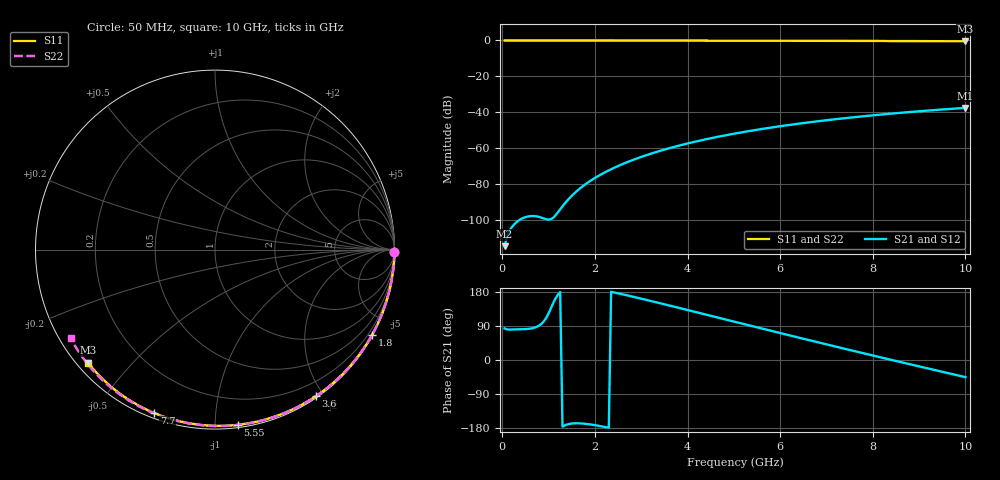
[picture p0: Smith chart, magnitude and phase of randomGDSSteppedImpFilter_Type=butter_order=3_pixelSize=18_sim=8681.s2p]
! freq	dB(S11)	phase(S11)	dB(S12)	phase(S12)
!  dB(S21)	phase(S21)	dB(S22)	phase(S22)
!S-par simulation data
#  GHz  S  DB  R 50
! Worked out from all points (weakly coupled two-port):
!   200 points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, 50 MHz to 10 GHz, reference 50 ohm
!   highest |S21| = -37.53 dB at 10 GHz (marker M1); lowest = -114.6 dB at 50 MHz (marker M2)
!   lowest |S11| = -0.5 dB at 10 GHz (marker M3), VSWR 37.04, Z = 1.55 - j19 ohm
!   |S11| at or under -10 dB: nowhere
!   |S22| runs from -0.5 to 0.0 dB; largest |S21 - S12| = 0
!   S11 on the Smith chart (normalised r, x): 50 MHz: open; 1.8 GHz: 0.03, -3.96; 3.6 GHz: 0.02, -1.90; 5.55 GHz: 0.02, -1.14; 7.7 GHz: 0.02, -0.70; 10 GHz: 0.03, -0.38
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0.05  -0.00 -0.8  -114.56 83.4  -114.56 83.4  -0.00 -0.9
0.45  -0.01 -7.2  -98.87 81.2  -98.87 81.2  -0.01 -7.7
0.9  -0.02 -14.3  -99.16 102.5  -99.16 102.5  -0.02 -15.3
1.3  -0.03 -20.6  -92.36 -176.0  -92.36 -176.0  -0.03 -22.1
1.75  -0.04 -27.6  -80.93 -167.9  -80.93 -167.9  -0.04 -29.5
1.8  -0.04 -28.4  -79.98 -168.5  -79.98 -168.5  -0.04 -30.4
1.95  -0.04 -30.7  -77.37 -170.9  -77.37 -170.9  -0.04 -32.8
2.1  -0.04 -33.0  -75.07 -174.0  -75.07 -174.0  -0.04 -35.3
2.3  -0.05 -36.0  -72.34 -178.8  -72.34 -178.8  -0.05 -38.6
2.5  -0.05 -39.1  -69.92 176.0  -69.92 176.0  -0.05 -41.8
2.9  -0.06 -45.1  -65.77 164.8  -65.77 164.8  -0.06 -48.2
3.4  -0.07 -52.5  -61.52 150.1  -61.52 150.1  -0.07 -56.1
3.6  -0.07 -55.4  -60.04 144.1  -60.04 144.1  -0.08 -59.2
4.3  -0.09 -65.5  -55.58 122.8  -55.58 122.8  -0.10 -69.9
5.05  -0.12 -75.9  -51.71 99.9  -51.71 99.9  -0.12 -81.1
5.55  -0.14 -82.7  -49.52 84.7  -49.52 84.7  -0.14 -88.3
6.1  -0.16 -90.0  -47.40 68.1  -47.40 68.1  -0.17 -96.1
6.7  -0.19 -97.8  -45.35 50.2  -45.35 50.2  -0.20 -104.4
7.7  -0.25 -110.4  -42.46 20.6  -42.46 20.6  -0.27 -117.9
8.35  -0.30 -118.4  -40.85 1.8  -40.85 1.8  -0.33 -126.6
9.2  -0.38 -128.7  -39.02 -22.6  -39.02 -22.6  -0.41 -137.9
10  -0.47 -138.3  -37.53 -45.2  -37.53 -45.2  -0.50 -148.5
